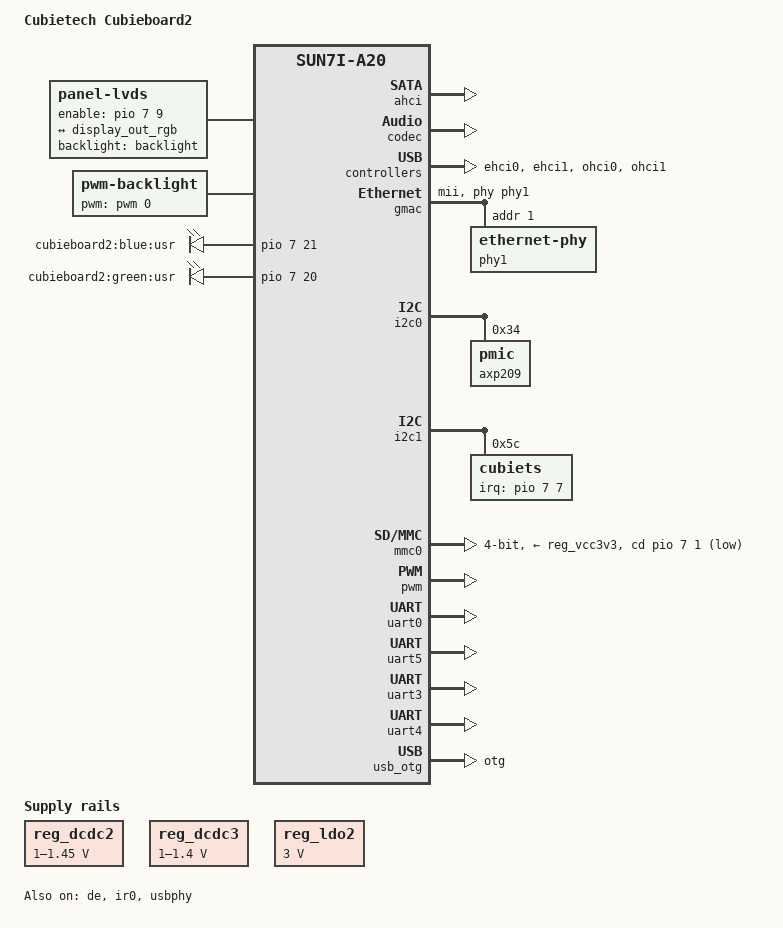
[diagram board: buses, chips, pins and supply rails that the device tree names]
/*
 * Copyright 2013 Maxime Ripard
 *
 * Maxime Ripard <maxime.ripard@free-electrons.com>
 *
 * This file is dual-licensed: you can use it either under the terms
 * of the GPL or the X11 license, at your option. Note that this dual
 * licensing only applies to this file, and not this project as a
 * whole.
 *
 *  a) This file is free software; you can redistribute it and/or
 *     modify it under the terms of the GNU General Public License as
 *     published by the Free Software Foundation; either version 2 of the
 *     License, or (at your option) any later version.
 *
 *     This file is distributed in the hope that it will be useful,
 *     but WITHOUT ANY WARRANTY; without even the implied warranty of
 *     MERCHANTABILITY or FITNESS FOR A PARTICULAR PURPOSE.  See the
 *     GNU General Public License for more details.
 *
 * Or, alternatively,
 *
 *  b) Permission is hereby granted, free of charge, to any person
 *     obtaining a copy of this software and associated documentation
 *     files (the "Software"), to deal in the Software without
 *     restriction, including without limitation the rights to use,
 *     copy, modify, merge, publish, distribute, sublicense, and/or
 *     sell copies of the Software, and to permit persons to whom the
 *     Software is furnished to do so, subject to the following
 *     conditions:
 *
 *     The above copyright notice and this permission notice shall be
 *     included in all copies or substantial portions of the Software.
 *
 *     THE SOFTWARE IS PROVIDED "AS IS", WITHOUT WARRANTY OF ANY KIND,
 *     EXPRESS OR IMPLIED, INCLUDING BUT NOT LIMITED TO THE WARRANTIES
 *     OF MERCHANTABILITY, FITNESS FOR A PARTICULAR PURPOSE AND
 *     NONINFRINGEMENT. IN NO EVENT SHALL THE AUTHORS OR COPYRIGHT
 *     HOLDERS BE LIABLE FOR ANY CLAIM, DAMAGES OR OTHER LIABILITY,
 *     WHETHER IN AN ACTION OF CONTRACT, TORT OR OTHERWISE, ARISING
 *     FROM, OUT OF OR IN CONNECTION WITH THE SOFTWARE OR THE USE OR
 *     OTHER DEALINGS IN THE SOFTWARE.
 */

/dts-v1/;
#include "sun7i-a20.dtsi"
#include "sunxi-common-regulators.dtsi"

#include <dt-bindings/gpio/gpio.h>
#include <dt-bindings/interrupt-controller/irq.h>
//#include <dt-bindings/pinctrl/sun4i-a10.h>

/ {
	model = "Cubietech Cubieboard2";
	compatible = "cubietech,cubieboard2", "allwinner,sun7i-a20";

	aliases {
		serial0 = &uart0;
	};

	chosen {
		stdout-path = "serial0:115200n8";
		#address-cells = <1>;
		#size-cells = <1>;
		ranges;

		framebuffer-lcd0-hdmi {
			compatible = "allwinner,simple-framebuffer",
					 "simple-framebuffer";
			allwinner,pipeline = "de_be0-lcd0-hdmi";
			clocks = <&ccu CLK_AHB_LCD0>, <&ccu CLK_AHB_HDMI0>,
				 <&ccu CLK_AHB_DE_BE0>, <&ccu CLK_DE_BE0>,
				 <&ccu CLK_TCON0_CH1>, <&ccu CLK_DRAM_DE_BE0>,
				 <&ccu CLK_HDMI>;
			status = "disabled";
		};

		framebuffer-lcd0 {
			compatible = "allwinner,simple-framebuffer",
					 "simple-framebuffer";
			allwinner,pipeline = "de_be0-lcd0";
			clocks = <&ccu CLK_AHB_LCD0>, <&ccu CLK_AHB_DE_BE0>,
				 <&ccu CLK_DE_BE0>, <&ccu CLK_TCON0_CH0>,
				 <&ccu CLK_DRAM_DE_BE0>;
			status = "disabled";
		};

		framebuffer-lcd0-tve0 {
			compatible = "allwinner,simple-framebuffer",
					 "simple-framebuffer";
			allwinner,pipeline = "de_be0-lcd0-tve0";
			clocks = <&ccu CLK_AHB_TVE0>, <&ccu CLK_AHB_LCD0>,
				 <&ccu CLK_AHB_DE_BE0>,
				 <&ccu CLK_DE_BE0>, <&ccu CLK_TCON0_CH1>,
				 <&ccu CLK_DRAM_TVE0>, <&ccu CLK_DRAM_DE_BE0>;
			status = "disabled";
		};
	};

	panel: panel {
		compatible = "panel-lvds";
		pinctrl-names = "default";
		pinctrl-0 = <&lcd_lvds0_pins>;
		enable-gpios = <&pio 7 9 GPIO_ACTIVE_HIGH>; /* PH9 */
		backlight = <&backlight>;
		#address-cells = <1>;
		#size-cells = <0>;

		port {
			lvds_panel_in: endpoint {
				remote-endpoint = <&display_out_rgb>;
			};
		};
	};

	backlight: lcd {
		compatible = "pwm-backlight";
		pinctrl-names = "default";
		pwms = <&pwm 0 5000000 0>;
		brightness-levels = <0 8 16 32 64 128 255 384 512 768 1024>;
		default-brightness-level = <10>;
	};

	leds {
		compatible = "gpio-leds";

		blue {
			label = "cubieboard2:blue:usr";
			gpios = <&pio 7 21 GPIO_ACTIVE_HIGH>;
		};

		green {
			label = "cubieboard2:green:usr";
			gpios = <&pio 7 20 GPIO_ACTIVE_HIGH>;
		};
	};
};

&ahci {
	target-supply = <&reg_ahci_5v>;
	status = "okay";
};

&codec {
	status = "okay";
};

&cpu0 {
	cpu-supply = <&reg_dcdc2>;
};

&de {
	status = "okay";
};

&ehci0 {
	status = "okay";
};

&ehci1 {
	status = "okay";
};

&gmac {
	pinctrl-names = "default";
	pinctrl-0 = <&gmac_mii_pins>;
	phy = <&phy1>;
	phy-mode = "mii";
	status = "okay";

	phy1: ethernet-phy@1 {
		reg = <1>;
	};
};

&i2c0 {
	status = "okay";

	axp209: pmic@34 {
		reg = <0x34>;
		interrupt-parent = <&nmi_intc>;
		interrupts = <0 IRQ_TYPE_LEVEL_LOW>;
	};
};

&i2c1 {
	status = "okay";

cubiets@5c {
	compatible = "cubiets";
	pinctrl-names = "default";
	pinctrl-0 = <&cubiets_int_pin>;
	reg = <0x5c>;
	x-size = <800>;
	y-size = <480>;
	interrupt-parent = <&pio>;
	interrupts = <7 7 IRQ_TYPE_EDGE_RISING>; /* PH7 / EINT7 */
	interrupt-names = "Touchscreen";
};
};

&ir0 {
	pinctrl-names = "default";
	pinctrl-0 = <&ir0_rx_pin>;
	status = "okay";
};

&mmc0 {
	vmmc-supply = <&reg_vcc3v3>;
	bus-width = <4>;
	cd-gpios = <&pio 7 1 GPIO_ACTIVE_LOW>; /* PH1 */
	status = "okay";
};

&ohci0 {
	status = "okay";
};

&ohci1 {
	status = "okay";
};

&otg_sram {
	status = "okay";
};

&pio {
	led_pins_cubieboard2: led_pins@0 {
		pins = "PH20", "PH21";
		function = "gpio_out";
	};

	usb0_id_detect_pin: usb0_id_detect_pin@0 {
		pins = "PH4";
		function = "gpio_in";
		bias-pull-up;
	};

	cubiets_int_pin:cubiets_int_pin@0 {
		pins = "PH7";
		function = "irq";
		bias-pull-up;
	};

	mmc2_cd_pin: mmc2_cd_pin@0 {
		pins = "PH0";
		function = "gpio_in";
		bias-pull-up;
	};
};

&pwm {
	pinctrl-names = "default";
	pinctrl-0 = <&pwm0_pin>;
	status = "okay";
};

&reg_ahci_5v {
	status = "okay";
};

#include "axp209.dtsi"

&ac_power_supply {
	status = "okay";
};

&reg_dcdc2 {
	regulator-always-on;
	regulator-min-microvolt = <1000000>;
	regulator-max-microvolt = <1450000>;
	regulator-name = "vdd-cpu";
};

&reg_dcdc3 {
	regulator-always-on;
	regulator-min-microvolt = <1000000>;
	regulator-max-microvolt = <1400000>;
	regulator-name = "vdd-int-dll";
};

&reg_ldo1 {
	regulator-name = "vdd-rtc";
};

&reg_ldo2 {
	regulator-always-on;
	regulator-min-microvolt = <3000000>;
	regulator-max-microvolt = <3000000>;
	regulator-name = "avcc";
};

&reg_usb1_vbus {
	status = "okay";
};

&reg_usb2_vbus {
	status = "okay";
};

&uart0 {
	pinctrl-names = "default";
	pinctrl-0 = <&uart0_pb_pins>;
	status = "okay";
};


// UART2 on Schematic
&uart5 {
	pinctrl-names = "default";
	pinctrl-0 = <&uart5_ph_pins>;
	status = "okay";
};

// UART? on Schematic
&uart3 {
	pinctrl-names = "default";
	pinctrl-0 = <&uart3_pg_pins>;
	status = "okay";
};

// UART? on Schematic
&uart4 {
	pinctrl-names = "default";
	pinctrl-0 = <&uart4_pg_pins>;
	status = "okay";
};

&usb_otg {
	dr_mode = "otg";
	status = "okay";
};

&usbphy {
	usb0_id_det-gpios = <&pio 7 4 (GPIO_ACTIVE_HIGH | GPIO_PULL_UP)>; /* PH4 */
	usb1_vbus-supply = <&reg_usb1_vbus>;
	usb2_vbus-supply = <&reg_usb2_vbus>;
	status = "okay";
};

&rtp {
	allwinner,ts-attached;
	allwinner,tp-sensitive-adjust = <0>;
	allwinner,filter-type = <3>;
};


&tcon0 {
	resets = <&ccu RST_TCON0>, <&ccu RST_LVDS>;
	reset-names = "lcd", "lvds";
	ports {
		tcon0_out: port@1 {
			display_out_rgb: endpoint@0 {
				reg = <0>;
				remote-endpoint = <&lvds_panel_in>;
				allwinner,tcon-channel = <0>;
			};
		};
	};
};
